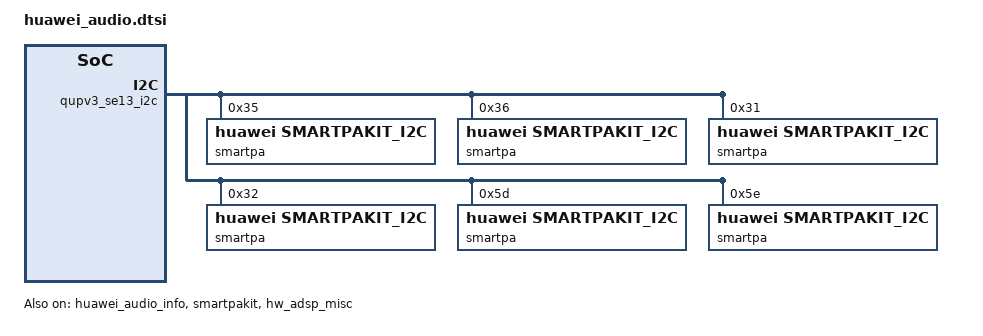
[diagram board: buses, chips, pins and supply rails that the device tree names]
&tlmm {
	smartpakit_irq_pins: smartpakit_irq_pins {
		smartpakit_irq_default: smartpakit_irq_default {
			mux {
				pins = "gpio180", "gpio179";
				function = "gpio";
			};

			config {
				pins = "gpio180", "gpio179";
				bias-pull-up;
				input-enable;
			};
		};
	};
};

&huawei_audio_info {
	compatible = "hw,hw_audio_info";
	product_identifier = "PAL";
	voice_vol_level = "10";
	pa_identifier = "smartpakit";
	smartpa_num = "2";
	speaker_test_content = "main_right_speaker,main_left_speaker";
	status = "ok";
	hardware_info {
		mic_num = "3";
		direct_devices = "0x4000000";
		get_ec_in_hal = "true";
		voip_ap_algo_enable = "true";
		voip_scene_support = "true";
		multi_mic_enable = "true";
		backmic_record_enable = "true";
		status = "ok";
		hostless_id_info {
			hostless_id_reset = "true";
			headset_rx_hostless_id = "30";
			hsmic_tx_hostless_id = "46";
		};
	};

	audio_channel_rotation_info {
		angle="90";
		rotation_support= "true";
	};
};

&audio_hw_config {
	asr_enable = "true";
	audio_sar_support = "true";
	audio_capability {
		bwe_ui_support = "true";
		bwe_support = "true";
		swb_support = "true";
		wnr_support = "false";
		nv_evs_support = "true";
		lvm_support = "false";
		dhf_support = "false";
		voice_anc_support = "false";
		dual_smartpa_support = "false";
		stereo_handfree_support = "true";
		stereo_for_alarm = "true";
		stereo_for_notification = "true";
		spk_rcv_stereo_support = "real";
		dual_smartpa_version = "2.0";
		sws_version = "sws_7_0";
		sws_force_channel_swap_in_portrait_mode = "true";
		mul_spk_set_angle = "true";
		earphone_multi_eq_support = "true";
		vdr_ui_support = "false";
		asr_vibrate_support = "true";
		accessibility_support = "true";
		mmi_capture_enable = "false";
		irda_support = "false";
		/* show warning to user when use a Type C analog headset */
		usb_analog_hs_report = "true";
		visualizer_support = "true";
		visualizer_frame = "Medium";
		/*
			sound trigger feature.
			false: this product doesn't support soundtrigger feature.
			2.0: this product supports the twice wakeup feature.
		*/
		soundtrigger_version = "2.0";
		soundtrigger_enhance_enable = "true";
		soundtrigger_mic_info = "3";
		/*
			bit0: node 900 optimization,  1:enab1e
			bit1:
				0: e2e disable
				1: e2e enable, must use hifi_6405_virtual_btn_devkit.img
		*/
		soundtrigger_kws1_feature = "2";
		/*
			max stream volume to replace Android default volume.
		*/
		max_stream_volume = "15";
		/*
			usb compatibility report feature.
			true: this product needs usb compatibility report.
			false: this product doesn't need usb compatibility report.
		*/
		usb_compatibility_report = "true";
		music_region_enable = "false";
		voice_region_enable = "true";
		/*
			use hisilicon wakeup engine.
			true: use hisilicon wakeup engine.
			false: DO NOT use hisilicon wakeup engine.
		*/
		wakeup_internal_engine = "true";
		asr_enhance_mic_choose = "1";
		backmic_record_enable = "true";
	};
};

&qupv3_se13_i2c {
	#address-cells = <1>;
	#size-cells = <0>;
	status = "ok";
	smartpa@35 {
		compatible = "huawei,smartpakit_i2c";
		reg = <0x35>;
		/* 0 MAXIM, 1 NXP, 2 TI, 3 OTHER, 4:huawei customize */
		chip_vendor = <4>;
		/* refer to smartpakit.out_device prop */
		chip_id = <0>;
		chip_model = "01-02";
		status = "ok";

		/* reg_ctl node: a node contains three data<addr value ctl_type>
		* ctl_type: 0 read reg(default), 1 write reg, 2 only time delay
		* value:
		*     read:  reg number(num >= 1)
		*     write: reg value
		*     delay: time delay
		* time delay unit: msecs */
		version_regs = <0x03 1 0>;
		dump_regs = <0 256 0>;
		hw_reset {
			gpio_reset = <&tlmm 181 0>; // GPIO_181
			/* gpio_state node: a node contains two data<state delay>
			 * time delay unit: msecs */
			ctl_sequence = <1 1 0 1>;
		};
		irq_handler {
			gpio_irq = <&tlmm 180 0>; // GPIO_180
			/* 0x0 IRQF_TRIGGER_NONE, 0x1 IRQF_TRIGGER_RISING, 0x2 IRQF_TRIGGER_FALLING, 0x4 IRQF_TRIGGER_HIGH, 0x8 IRQF_TRIGGER_LOW*/
			irq_flags = <2>;
			/* whether or not need reset chip*/
			need_reset;
			rw_sequence = <
				0x10 1 0
				0x11 1 0
				0x13 1 0
				0x14 1 0
				0x40 1 0
				0x41 1 0
				0x42 1 0
			>;
		};

		regmap_cfg {
			reg_bits = <8>;
			val_bits = <16>;
			/* 0 REGCACHE_NONE, 1 REGCACHE_RBTREE, 2 REGCACHE_COMPRESSED, 3 REGCACHE_FLAT */
			cache_type = <0>;
			max_register = <0xff>;
			reg_defaults = <
				0x00 0x1801
				0x01 0x0014
			>;
		};
	};

	smartpa@36 {
		compatible = "huawei,smartpakit_i2c";
		reg = <0x36>;
		/* 0 MAXIM, 1 NXP, 2 TI, 3 OTHER, 4:huawei customize */
		chip_vendor = <4>;
		/* refer to smartpakit.out_device prop */
		chip_id = <1>;
		chip_model = "01-02";
		status = "ok";

		/* reg_ctl node: a node contains three data<addr value ctl_type>
		 * ctl_type: 0 read reg(default), 1 write reg, 2 only time delay
		 * value:
		 *     read:  reg number(num >= 1)
		 *     write: reg value
		 *     delay: time delay
		 * time delay unit: msecs */
		version_regs = <0x03 1 0>;
		dump_regs = <0 256 0>;
		hw_reset {
			gpio_reset = <&tlmm 178 0>; // GPIO_178
			/* gpio_state node: a node contains two data<state delay>
			 * time delay unit: msecs */
			ctl_sequence = <1 1 0 1>;
		};
		irq_handler {
			gpio_irq = <&tlmm 179 0>; // GPIO_179
			/* 0x0 IRQF_TRIGGER_NONE, 0x1 IRQF_TRIGGER_RISING, 0x2 IRQF_TRIGGER_FALLING, 0x4 IRQF_TRIGGER_HIGH, 0x8 IRQF_TRIGGER_LOW*/
			irq_flags = <2>;
			/* whether or not need reset chip*/
			need_reset;
			rw_sequence = <
				0x10 1 0
				0x11 1 0
				0x13 1 0
				0x14 1 0
				0x40 1 0
				0x41 1 0
				0x42 1 0
			>;
		};
		regmap_cfg {
			reg_bits = <8>;
			val_bits = <16>;
			/* 0 REGCACHE_NONE, 1 REGCACHE_RBTREE, 2 REGCACHE_COMPRESSED, 3 REGCACHE_FLAT */
			cache_type = <0>;
			max_register = <0xff>;
			reg_defaults = <
				0x00 0x1801
				0x01 0x0014
			>;
		};
	};

	smartpa@31{
		compatible = "huawei,smartpakit_i2c";
		reg = <0x31>;
		/* 0 MAXIM, 1 NXP, 2 TI, 3 OTHER, 4:huawei customize */
		chip_vendor = <4>;
		/* refer to smartpakit.out_device prop */
		chip_id = <0>;
		chip_model = "06-01";
		/* maybe trigger one irq after some chip reset, ext. tas2560
		 * debounce wait time unit: msecs */
		reset_debounce_wait_time = <200>;
		sync_irq_debounce_time;
		status = "ok";

		/* reg_ctl node: a node contains three data<addr value ctl_type>
		 * ctl_type: 0 read reg(default), 1 write reg, 2 only time delay
		 * value:
		 *     read:  reg number(num >= 1)
		 *     write: reg value
		 *     delay: time delay
		 * time delay unit: msecs */
		version_regs = <0x00 1 0>;
		dump_regs = <0 256 0>;
		hw_reset {
			gpio_reset = <&tlmm 181 0>; // GPIO_181
			/* gpio_state node: a node contains two data<state delay>
			 * time delay unit: msecs */
			ctl_sequence = <0 1 1 1>;
		};
		irq_handler {
			gpio_irq = <&tlmm 180 0>; // GPIO_180
			/* 0x0 IRQF_TRIGGER_NONE, 0x1 IRQF_TRIGGER_RISING, 0x2 IRQF_TRIGGER_FALLING, 0x4 IRQF_TRIGGER_HIGH, 0x8 IRQF_TRIGGER_LOW*/
			irq_flags = <2>;
			/* whether or not need reset chip*/
			need_reset;
			rw_sequence = <
				0x00 8 0
				0x09 5 0
				0x12 3 0
				0x60 2 0
				0x78 1 0
				0x7a 1 0
			>;
		};
		regmap_cfg {
			reg_bits = <8>;
			val_bits = <16>;
			/* 0 REGCACHE_NONE, 1 REGCACHE_RBTREE, 2 REGCACHE_COMPRESSED, 3 REGCACHE_FLAT */
			cache_type = <0>;
			max_register = <0xff>;
		};
	};

	smartpa@32{
		compatible = "huawei,smartpakit_i2c";
		reg = <0x32>;
		/* 0 MAXIM, 1 NXP, 2 TI, 3 OTHER, 4:huawei customize */
		chip_vendor = <4>;
		/* refer to smartpakit.out_device prop */
		chip_id = <1>;
		chip_model = "06-01";
		/* maybe trigger one irq after some chip reset, ext. tas2560
		 * debounce wait time unit: msecs */
		reset_debounce_wait_time = <200>;
		sync_irq_debounce_time;
		status = "ok";

		/* reg_ctl node: a node contains three data<addr value ctl_type>
		 * ctl_type: 0 read reg(default), 1 write reg, 2 only time delay
		 * value:
		 *     read:  reg number(num >= 1)
		 *     write: reg value
		 *     delay: time delay
		 * time delay unit: msecs */
		version_regs = <0x00 1 0>;
		dump_regs = <0 256 0>;
		hw_reset {
			gpio_reset = <&tlmm 178 0>; // GPIO_178
			/* gpio_state node: a node contains two data<state delay>
			 * time delay unit: msecs */
			ctl_sequence = <0 1 1 1>;
		};
		irq_handler {
			gpio_irq = <&tlmm 179 0>; // GPIO_179
			/* 0x0 IRQF_TRIGGER_NONE, 0x1 IRQF_TRIGGER_RISING, 0x2 IRQF_TRIGGER_FALLING, 0x4 IRQF_TRIGGER_HIGH, 0x8 IRQF_TRIGGER_LOW*/
			irq_flags = <2>;
			/* whether or not need reset chip*/
			need_reset;
			rw_sequence = <
				0x00 8 0
				0x09 5 0
				0x12 3 0
				0x60 2 0
				0x78 1 0
				0x7a 1 0
			>;
		};
		regmap_cfg {
			reg_bits = <8>;
			val_bits = <16>;
			/* 0 REGCACHE_NONE, 1 REGCACHE_RBTREE, 2 REGCACHE_COMPRESSED, 3 REGCACHE_FLAT */
			cache_type = <0>;
			max_register = <0xff>;
		};
	};

	smartpa@5D{
		compatible = "huawei,smartpakit_i2c";
		reg = <0x5D>;
		/* 4:huawei customize */
		chip_vendor = <4>;
		/* refer to smartpakit.out_device prop */
		chip_id = <0>;
		chip_model = "05-01";
		reset_debounce_wait_time = <100>;
		status = "ok";

		/* reg_ctl node: a node contains three data<addr value ctl_type>
		 * ctl_type: 0 read reg(default), 1 write reg, 2 only time delay
		 * value:
		 *     read:  reg number(num >= 1)
		 *     write: reg value
		 *     delay: time delay
		 * time delay unit: msecs */
		version_regs = <0x03 1 0>;
		dump_regs = <0 256 0>;
		hw_reset {
			gpio_reset = <&tlmm 181 0>; // GPIO_181
			/* gpio_state node: a node contains two data<state delay>
			 * time delay unit: msecs */
			ctl_sequence = <0 1 1 1>;
		};
		irq_handler {
			gpio_irq = <&tlmm 180 0>; // GPIO_180
			/* 0x0 IRQF_TRIGGER_NONE, 0x1 IRQF_TRIGGER_RISING, 0x2 IRQF_TRIGGER_FALLING, 0x4 IRQF_TRIGGER_HIGH, 0x8 IRQF_TRIGGER_LOW */
			irq_flags = <2>;
			/* whether or not need reset chip */
			need_reset;
			rw_sequence = <
				0x01 1 0
				0x05 1 0
				0x09 1 0
				0x03 6 1 // mute chip
			>;
		};
		regmap_cfg {
			reg_bits = <8>;
			val_bits = <16>;
			/* 0 REGCACHE_NONE, 1 REGCACHE_RBTREE, 2 REGCACHE_COMPRESSED, 3 REGCACHE_FLAT */
			cache_type = <0>;
			max_register = <0xff>;
		};
	};

	smartpa@5E{
		compatible = "huawei,smartpakit_i2c";
		reg = <0x5E>;
		/* 4:huawei customize */
		chip_vendor = <4>;
		/* refer to smartpakit.out_device prop */
		chip_id = <1>;
		chip_model = "05-01";
		reset_debounce_wait_time = <100>;
		status = "ok";

		/* reg_ctl node: a node contains three data<addr value ctl_type>
		 * ctl_type: 0 read reg(default), 1 write reg, 2 only time delay
		 * value:
		 *     read:  reg number(num >= 1)
		 *     write: reg value
		 *     delay: time delay
		 * time delay unit: msecs */
		version_regs = <0x03 1 0>;
		dump_regs = <0 256 0>;
		hw_reset {
			gpio_reset = <&tlmm 178 0>; // GPIO_178
			/* gpio_state node: a node contains two data<state delay>
			 * time delay unit: msecs */
			ctl_sequence = <0 1 1 1>;
		};
		irq_handler {
			gpio_irq = <&tlmm 179 0>; // GPIO_179
			/* 0x0 IRQF_TRIGGER_NONE, 0x1 IRQF_TRIGGER_RISING, 0x2 IRQF_TRIGGER_FALLING, 0x4 IRQF_TRIGGER_HIGH, 0x8 IRQF_TRIGGER_LOW */
			irq_flags = <2>;
			/* whether or not need reset chip */
			need_reset;
			rw_sequence = <
				0x01 1 0
				0x05 1 0
				0x09 1 0
				0x03 6 1 // mute chip
			>;
		};
		regmap_cfg {
			reg_bits = <8>;
			val_bits = <16>;
			/* 0 REGCACHE_NONE, 1 REGCACHE_RBTREE, 2 REGCACHE_COMPRESSED, 3 REGCACHE_FLAT */
			cache_type = <0>;
			max_register = <0xff>;
		};
	};

};

&smartpakit {
	compatible = "huawei,smartpakit";
	/* 0 hisi, 1 qcom */
	soc_platform = <1>;
	/* algo running on: 0 codec_dsp, 1 soc_dsp, 2 smartpa_dsp, 3 simple pa(not smpartpa), 4 simple pa(with i2c) */
	algo_in = <1>;
	/* algo_in params need match out_device for smartpa.
	 * Now, up to only support eight pa, so out_device = <0 0 0 0 0 0 0 0>;
	 * 1. This array is arranged in the following order:
	 *    <0 1 2 3>
	 *    <pril prir secl secr>
	 * 2. This array element value is 0 or 1:
	 *    smartpa: 0 speaker, 1 receiver
	 *    simple pa: out_device not applicable, only set 0 to indicate pa_num
	 * 3. The length of this array is variable, for example:
	 *    single pa: out_device = <0>;
	 *    two pa: out_device = <0 0>;
	 *    four pa: out_device = <1 1 0 0>;
	 *    eight pa: out_device = <0 0 0 0 0 0 0 0>; */
	out_device = <0 1>;
	/* param_version: 1 mixed smartpa param support */
	param_version = <1>;
	special_name_config = "smartpa_dual_spk_playback";
	cali_data_update_mode = <1>;
	status = "ok";

	smartpakit_irq_pinctrl;
	pinctrl-names = "default";
	pinctrl-0 = <&smartpakit_irq_default>;
};

&hw_adsp_misc {
	compatible = "hw,hw_adsp_misc";
	rx_port_id = <0x1016>;
	tx_port_id = <0x1017>;
	smartpa_num = <2>;
	status = "ok";

	tfa_smartamp: tfa_smartamp@0{
                compatible = "huawei,tfa_smartamp";
                algo_control_need = <0>;
                status = "ok";
        };

        awinic_smartamp: awinic_smartamp@0{
                compatible = "huawei,awinic_smartamp";
                algo_control_need = <0>;
                status = "ok";
        };

	customize_smartamp: customize_smartamp@0{
                compatible = "huawei,customize_smartamp";
                algo_control_need = <0>;
                status = "ok";
        };
};
